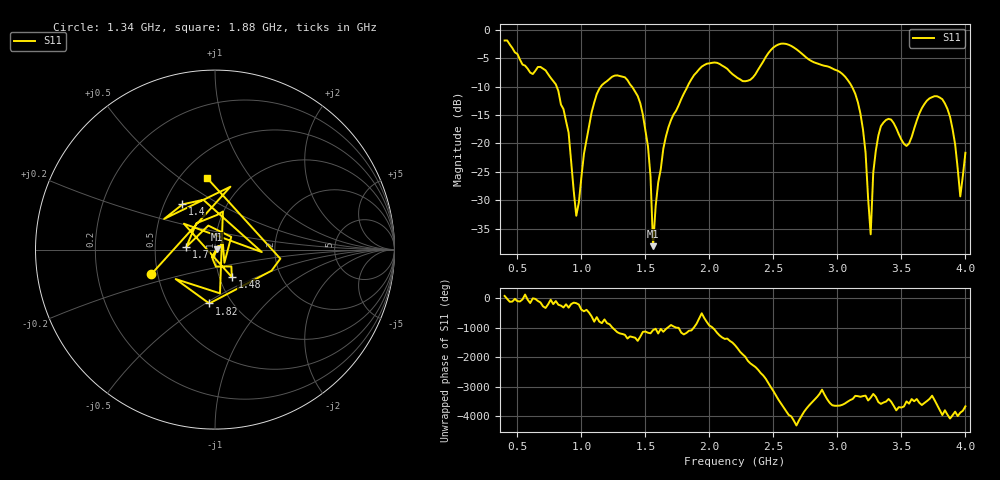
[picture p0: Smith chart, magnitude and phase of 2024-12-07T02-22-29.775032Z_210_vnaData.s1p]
!Created with skrf (http://scikit-rf.org).
# Hz S RI R 50.0
!freq ReS11 ImS11
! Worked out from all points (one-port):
!   181 points, 400 MHz to 4 GHz, reference 50 ohm
!   lowest |S11| = -38.1 dB at 1.56 GHz (marker M1), VSWR 1.03, Z = 51.3 + j0.0723 ohm
!   |S11| at or under -10 dB: 806.9 MHz to 1.152 GHz (345.2 MHz wide, 35.2 % of centre); 1.394 GHz to 1.829 GHz (434.4 MHz wide, 27 % of centre); 3.113 GHz to end of sweep
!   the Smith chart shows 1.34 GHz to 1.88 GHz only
!   S11 on the Smith chart (normalised r, x): 1.34 GHz: 0.46, -0.15; 1.4 GHz: 0.62, +0.35; 1.48 GHz: 1.15, -0.36; 1.7 GHz: 0.72, +0.02; 1.82 GHz: 0.79, -0.52; 1.88 GHz: 0.68, +0.64
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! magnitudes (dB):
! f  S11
! 400 MHz  -1.9
! 860 MHz  -14.0
! 900 MHz  -18.1
! 960 MHz  -32.7
! 1.12 GHz  -11.3
! 1.3 GHz  -8.1
! 1.34 GHz  -8.4
! 1.4 GHz  -10.2
! 1.48 GHz  -14.9
! 1.54 GHz  -25.8
! 1.56 GHz  -38.1
! 1.6 GHz  -26.9
! 1.7 GHz  -15.9
! 1.76 GHz  -13.3
! 1.82 GHz  -10.4
! 1.88 GHz  -8.0
! 2.2 GHz  -8.1
! 2.66 GHz  -3.1
! 3.1 GHz  -9.5
! 3.2 GHz  -17.6
! 3.26 GHz  -36.0
! 3.28 GHz  -25.1
! 3.34 GHz  -17.0
! 3.56 GHz  -20.0
! 3.78 GHz  -11.7
! 3.88 GHz  -15.3
! 3.96 GHz  -29.3
! 4 GHz  -21.6
